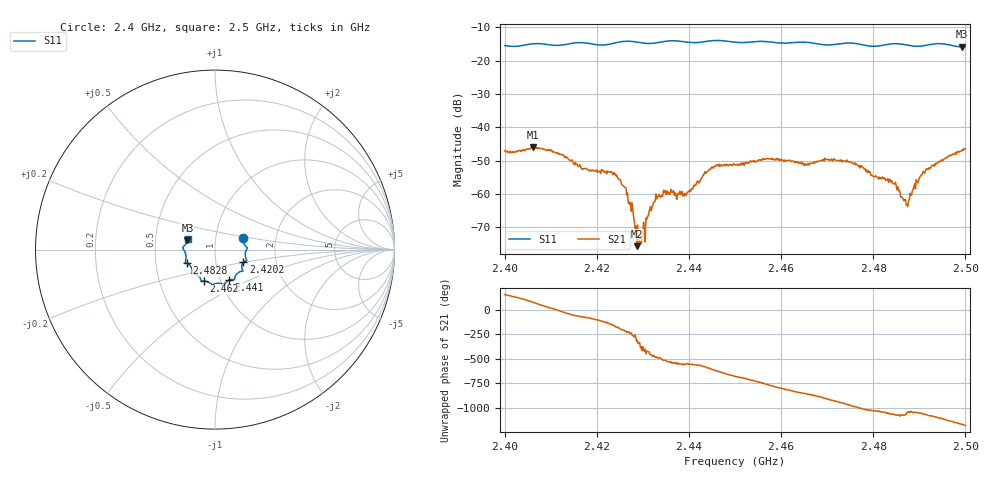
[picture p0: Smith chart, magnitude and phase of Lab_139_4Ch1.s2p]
# Hz S RI R 50
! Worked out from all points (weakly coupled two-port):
!   601 points, 2.4 GHz to 2.5 GHz, reference 50 ohm
!   highest |S21| = -45.98 dB at 2.4062 GHz (marker M1); lowest = -75.7 dB at 2.4287 GHz (marker M2)
!   lowest |S11| = -15.8 dB at 2.4993 GHz (marker M3), VSWR 1.39, Z = 36.5 + j3.85 ohm
!   |S11| at or under -10 dB: start of sweep to end of sweep
!   S12 and S22 are empty: the file has one direction only
!   S11 on the Smith chart (normalised r, x): 2.4 GHz: 1.36, +0.18; 2.4202 GHz: 1.36, -0.20; 2.441 GHz: 1.10, -0.39; 2.462 GHz: 0.84, -0.30; 2.4828 GHz: 0.72, -0.11; 2.5 GHz: 0.73, +0.09
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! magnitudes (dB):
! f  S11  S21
! 2.4 GHz  -15.4  -47.0
! 2.4062 GHz  -14.9  -46.0
! 2.4167 GHz  -14.5  -52.4
! 2.4202 GHz  -15.2  -53.5
! 2.4235 GHz  -14.8  -54.2
! 2.4258 GHz  -14.2  -57.6
! 2.4287 GHz  -14.4  -75.7
! 2.43 GHz  -14.7  -71.3
! 2.4312 GHz  -14.8  -66.6
! 2.4333 GHz  -14.5  -60.7
! 2.441 GHz  -14.6  -57.5
! 2.4455 GHz  -13.9  -51.8
! 2.45 GHz  -14.4  -51.2
! 2.462 GHz  -14.6  -49.9
! 2.4667 GHz  -14.6  -50.8
! 2.4748 GHz  -14.6  -50.5
! 2.4828 GHz  -15.1  -55.9
! 2.4833 GHz  -15.0  -56.5
! 2.4873 GHz  -15.3  -63.4
! 2.4912 GHz  -15.4  -53.8
! 2.4993 GHz  -15.8  -46.7
! 2.5 GHz  -15.7  -46.3
